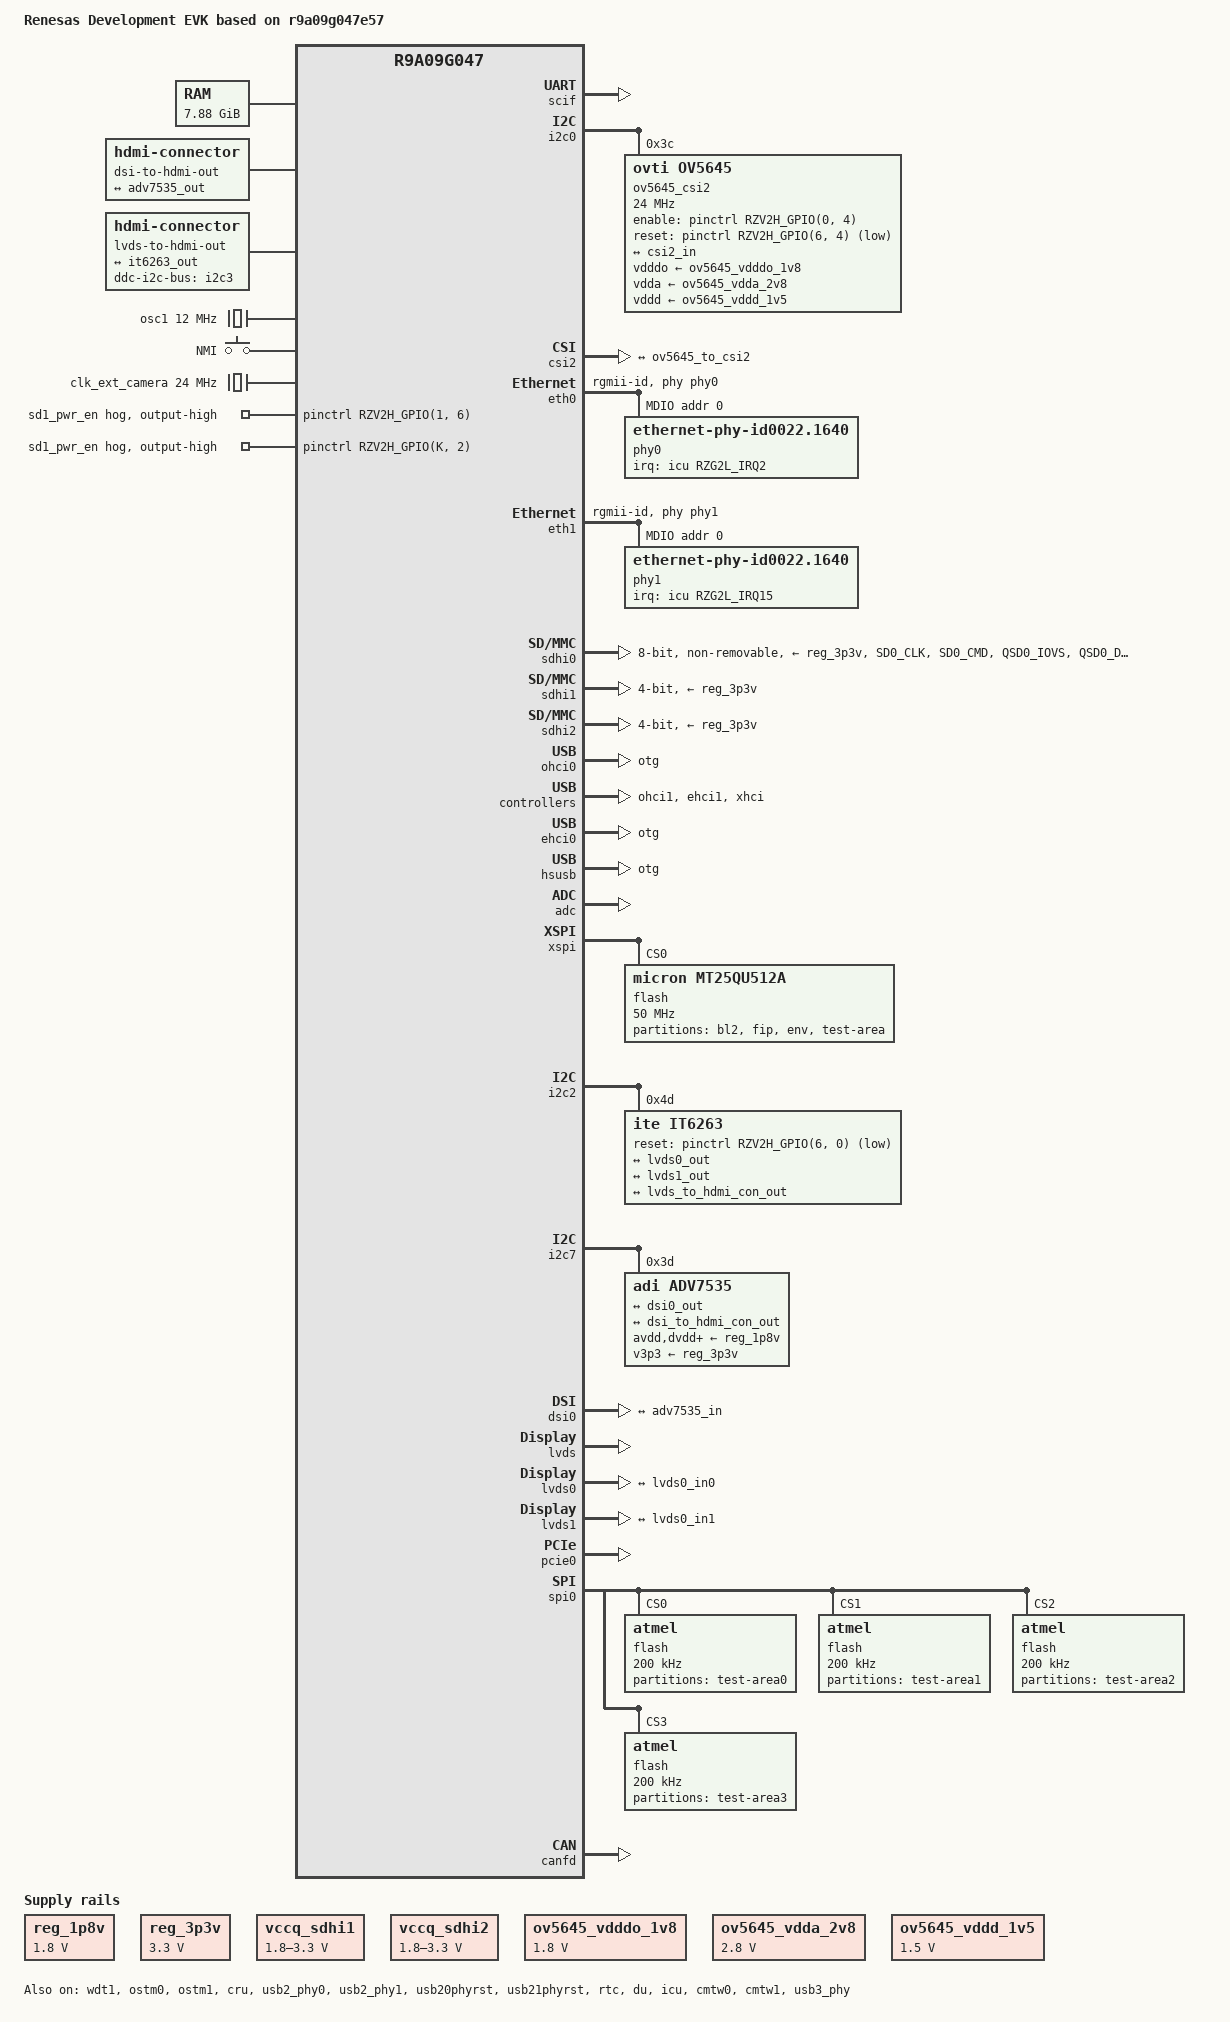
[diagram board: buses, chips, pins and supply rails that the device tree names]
// SPDX-License-Identifier: (GPL-2.0-only OR BSD-2-Clause)
/*
 * Device Tree Source for the RZ/G3E Development EVK board
 *
 * Copyright (C) 2023 Renesas Electronics Corp.
 */

/dts-v1/;
#include "r9a09g047.dtsi"
#include <dt-bindings/pinctrl/rzv2h-pinctrl.h>
#include <dt-bindings/gpio/gpio.h>
#include <dt-bindings/interrupt-controller/irqc-rzg2l.h>

/ {
	model = "Renesas Development EVK based on r9a09g047e57";
	compatible = "renesas,r9a09g047e57-dev", "renesas,r9a09g047e57", "renesas,r9a09g047";

	aliases {
		serial0 = &scif;
		ethernet0 = &eth0;
		ethernet1 = &eth1;
		mmc0 = &sdhi0;
		mmc1 = &sdhi1;
		mmc2 = &sdhi2;
	};

	chosen {
		bootargs = "ignore_loglevel";
		stdout-path = "serial0:115200n8";
	};

	memory@48000000 {
		device_type = "memory";
		/* first 128MB is reserved for secure area. */
		reg = <0x0 0x48000000 0x1 0xF8000000>;
	};

	reserved-memory {
		#address-cells = <2>;
		#size-cells = <2>;
		ranges;

		global_cma: linux,cma@58000000 {
			compatible = "shared-dma-pool";
			linux,cma-default;
			reusable;
			reg = <0x0 0x58000000 0x0 0x10000000>;
		};

		mmp_reserved: linux,multimedia {
			compatible = "shared-dma-pool";
			reusable;
			reg = <0x00000000 0x68000000 0x0 0x10000000>;
		};
	};

	mmngr {
		compatible = "renesas,mmngr";
		memory-region = <&mmp_reserved>;
	};

	mmngrbuf {
		compatible = "renesas,mmngrbuf";
	};

	vspm_if {
		compatible = "renesas,vspm_if";
	};

	reg_1p8v: regulator0 {
		compatible = "regulator-fixed";

		regulator-name = "fixed-1.8V";
		regulator-min-microvolt = <1800000>;
		regulator-max-microvolt = <1800000>;
		regulator-boot-on;
		regulator-always-on;
	};

	reg_3p3v: regulator1 {
		compatible = "regulator-fixed";

		regulator-name = "fixed-3.3V";
		regulator-min-microvolt = <3300000>;
		regulator-max-microvolt = <3300000>;
		regulator-boot-on;
		regulator-always-on;
	};

	vccq_sdhi1: regulator-vccq-sdhi1 {
		compatible = "regulator-gpio";

		regulator-name = "SDHI1 VccQ";
		regulator-min-microvolt = <1800000>;
		regulator-max-microvolt = <3300000>;

		gpios = <&pinctrl RZV2H_GPIO(1, 5) GPIO_ACTIVE_HIGH>;

		gpios-states = <0>;
		states = <3300000 0>, <1800000 1>;
	};

	vccq_sdhi2: regulator-vccq-sdhi2 {
		compatible = "regulator-gpio";

		regulator-name = "SDHI2 VccQ";
		regulator-min-microvolt = <1800000>;
		regulator-max-microvolt = <3300000>;

		gpios = <&pinctrl RZV2H_GPIO(K, 1) GPIO_ACTIVE_HIGH>;

		gpios-states = <0>;
		states = <3300000 0>, <1800000 1>;
	};

	dsi-to-hdmi-out {
		compatible = "hdmi-connector";
		type = "d";

		port {
			dsi_to_hdmi_con_out: endpoint {
				remote-endpoint = <&adv7535_out>;
			};
		};
	};

	lvds-to-hdmi-out {
		compatible = "hdmi-connector";
		type = "d";
		ddc-i2c-bus = <&i2c3>;

		port {
			lvds_to_hdmi_con_out: endpoint {
				remote-endpoint = <&it6263_out>;
			};
		};
	};

	osc1: cec-clock {
		compatible = "fixed-clock";
		#clock-cells = <0>;
		clock-frequency = <12000000>;
	};

	gpio-keys {
		compatible = "gpio-keys";

		pinctrl-0 = <&icu_pins>;
		pinctrl-names = "default";

		nmi {
			interrupt-parent = <&icu>;
			interrupts = <0 IRQ_TYPE_EDGE_FALLING>;
			linux,code = <0>;
			label = "NMI";
			wakeup-source;
		};
	};

	clk_ext_camera: clk_ext_camera {
		compatible = "fixed-clock";
		#clock-cells = <0>;
		clock-frequency = <24000000>;
	};

	ov5645_vdddo_1v8: 1p8v {
		compatible = "regulator-fixed";
		regulator-name = "camera_vdddo";
		regulator-min-microvolt = <1800000>;
		regulator-max-microvolt = <1800000>;
		regulator-always-on;
	};

	ov5645_vdda_2v8: 2p8v {
		compatible = "regulator-fixed";
		regulator-name = "camera_vdda";
		regulator-min-microvolt = <2800000>;
		regulator-max-microvolt = <2800000>;
		regulator-always-on;
	};

	ov5645_vddd_1v5: 1p5v {
		compatible = "regulator-fixed";
		regulator-name = "camera_vddd";
		regulator-min-microvolt = <1500000>;
		regulator-max-microvolt = <1500000>;
		regulator-always-on;
	};
};

&pinctrl {
	sd1_pwr_en {
		gpio-hog;
		gpios = <RZV2H_GPIO(1, 6) GPIO_ACTIVE_HIGH>;
		output-high;
		line-name = "sd1_pwr_en";
	};

	sd2_pwr_en {
		gpio-hog;
		gpios = <RZV2H_GPIO(K, 2) GPIO_ACTIVE_HIGH>;
		output-high;
		line-name = "sd1_pwr_en";
	};

	can0_pins: can0 {
		pinmux = <RZV2H_PORT_PINMUX(0, 2, 3)>, /* RX */
			 <RZV2H_PORT_PINMUX(0, 3, 3)>; /* TX */
	};

	can1_pins: can1 {
		pinmux = <RZV2H_PORT_PINMUX(D, 6, 3)>, /* RX */
			 <RZV2H_PORT_PINMUX(D, 7, 3)>; /* TX */
	};

	eth0_pins: eth0 {
		pinmux = <RZV2H_PORT_PINMUX(A, 1, 1)>, /* MDC */
			 <RZV2H_PORT_PINMUX(A, 0, 1)>, /* MDIO */
			 <RZV2H_PORT_PINMUX(C, 2, 15)>, /* PHY_INTR */
			 <RZV2H_PORT_PINMUX(C, 1, 1)>, /* RXD */
			 <RZV2H_PORT_PINMUX(C, 0, 1)>, /* RXD */
			 <RZV2H_PORT_PINMUX(B, 7, 1)>, /* RXD */
			 <RZV2H_PORT_PINMUX(B, 6, 1)>, /* RXD */
			 <RZV2H_PORT_PINMUX(B, 0, 1)>, /* RXC_RX_CLK */
			 <RZV2H_PORT_PINMUX(A, 2, 1)>, /* RX_CTL_RX_DV */
			 <RZV2H_PORT_PINMUX(B, 5, 1)>, /* TXD */
			 <RZV2H_PORT_PINMUX(B, 4, 1)>, /* TXD */
			 <RZV2H_PORT_PINMUX(B, 3, 1)>, /* TXD */
			 <RZV2H_PORT_PINMUX(B, 2, 1)>, /* TXD */
			 <RZV2H_PORT_PINMUX(B, 1, 1)>, /* TXC_TX_CLK */
			 <RZV2H_PORT_PINMUX(A, 3, 1)>; /* TX_CTL_TX_EN */
	};

	eth1_pins: eth1 {
		pinmux = <RZV2H_PORT_PINMUX(D, 1, 1)>, /* MDC */
			 <RZV2H_PORT_PINMUX(D, 0, 1)>, /* MDIO */
			 <RZV2H_PORT_PINMUX(F, 2, 15)>, /* PHY_INTR */
			 <RZV2H_PORT_PINMUX(F, 1, 1)>, /* RXD */
			 <RZV2H_PORT_PINMUX(F, 0, 1)>, /* RXD */
			 <RZV2H_PORT_PINMUX(E, 7, 1)>, /* RXD */
			 <RZV2H_PORT_PINMUX(E, 6, 1)>, /* RXD */
			 <RZV2H_PORT_PINMUX(E, 0, 1)>, /* RXC_RX_CLK */
			 <RZV2H_PORT_PINMUX(D, 2, 1)>, /* RX_CTL_RX_DV */
			 <RZV2H_PORT_PINMUX(E, 5, 1)>, /* TXD */
			 <RZV2H_PORT_PINMUX(E, 4, 1)>, /* TXD */
			 <RZV2H_PORT_PINMUX(E, 3, 1)>, /* TXD */
			 <RZV2H_PORT_PINMUX(E, 2, 1)>, /* TXD */
			 <RZV2H_PORT_PINMUX(E, 1, 1)>, /* TXC_TX_CLK */
			 <RZV2H_PORT_PINMUX(D, 3, 1)>; /* TX_CTL_TX_EN */
	};

	i2c2_pins: i2c2 {
		pinmux = <RZV2H_PORT_PINMUX(5, 4, 13)>, /* SCL */
			 <RZV2H_PORT_PINMUX(5, 5, 13)>; /* SDA */
	};

	i2c7_pins: i2c7 {
		pinmux = <RZV2H_PORT_PINMUX(6, 5, 4)>, /* SCL */
			 <RZV2H_PORT_PINMUX(6, 6, 4)>; /* SDA */
	};

	icu_pins: icu {
		nmi {
			pinmux = <RZV2H_PORT_PINMUX(S, 0, 0)>; /* NMI */
		};
	};

	i2c0_pins: i2c0 {
		pinmux = <RZV2H_PORT_PINMUX(5, 0, 13)>, /* SCL */
			 <RZV2H_PORT_PINMUX(5, 1, 13)>; /* SDA */
	};

	sdhi0_pins: sd0emmc {
		sd0-emmc-ctrl {
			pins = "SD0_CLK", "SD0_CMD";
			renesas,output-impedance = <3>;
		};

		sd0-iovs {
			pins = "QSD0_IOVS";
			renesas,output-impedance = <3>;
		};

		sd0-emmc-data {
			pins = "QSD0_DAT0", "QSD0_DAT1", "QSD0_DAT2", "QSD0_DAT3",
			       "QSD0_DAT4", "QSD0_DAT5", "QSD0_DAT6", "QSD0_DAT7";
			renesas,output-impedance = <3>;
		};

		sd0-emmc-rst {
			pins = "SD0_RSTN";
			renesas,output-impedance = <3>;
		};
	};

	sdhi1_pins: sd1 {
		sd1_mux {
			pinmux = <RZV2H_PORT_PINMUX(1, 4, 8)>; /* QSD1_CD */
		};

		sd1_data {
			pinmux = <RZV2H_PORT_PINMUX(G, 2, 1)>, /* QSD1_DAT0 */
				 <RZV2H_PORT_PINMUX(G, 3, 1)>, /* QSD1_DAT1 */
				 <RZV2H_PORT_PINMUX(G, 4, 1)>, /* QSD1_DAT2 */
				 <RZV2H_PORT_PINMUX(G, 5, 1)>; /* QSD1_DAT3 */
		};

		sd1_ctrl {
			pinmux = <RZV2H_PORT_PINMUX(G, 0, 1)>, /* QSD2_CLK */
				 <RZV2H_PORT_PINMUX(G, 1, 1)>; /* QSD2_CMD */
		};
	};

	sdhi2_pins: sd2 {
		sd2_mux {
			pinmux = <RZV2H_PORT_PINMUX(K, 0, 1)>; /* QSD2_CD */
		};

		sd2_data {
			pinmux = <RZV2H_PORT_PINMUX(H, 2, 1)>, /* QSD2_DAT0 */
				 <RZV2H_PORT_PINMUX(H, 3, 1)>, /* QSD2_DAT1 */
				 <RZV2H_PORT_PINMUX(H, 4, 1)>, /* QSD2_DAT2 */
				 <RZV2H_PORT_PINMUX(H, 5, 1)>; /* QSD2_DAT3 */
		};

		sd2_ctrl {
			pinmux = <RZV2H_PORT_PINMUX(H, 0, 1)>, /* QSD2_CLK */
				 <RZV2H_PORT_PINMUX(H, 1, 1)>; /* QSD2_CMD */
		};
	};

	usb20_pins: usb20 {
		pinmux = <RZV2H_PORT_PINMUX(3, 1, 12)>, /* VBUS */
			 <RZV2H_PORT_PINMUX(3, 0, 12)>; /* OVC */
	};

	usb21_pins: usb21 {
		pinmux = <RZV2H_PORT_PINMUX(3, 5, 12)>, /* VBUS */
			 <RZV2H_PORT_PINMUX(3, 4, 12)>; /* OVC */
	};

	spi0_pins: spi0 {
		spi0_ssl {
			pinmux = <RZV2H_PORT_PINMUX(8, 2, 2)>, /* SSLA */
				 <RZV2H_PORT_PINMUX(8, 3, 2)>, /* SSLB */
				 <RZV2H_PORT_PINMUX(8, 4, 2)>, /* SSLC */
				 <RZV2H_PORT_PINMUX(8, 5, 2)>; /* SSLD */
			};

		spi0_data {
			pinmux = <RZV2H_PORT_PINMUX(7, 7, 2)>, /* MISO */
				 <RZV2H_PORT_PINMUX(8, 0, 2)>; /* MOSI */
			bias-pull-up;
		};

		spi0_clk {
			pinmux = <RZV2H_PORT_PINMUX(8, 1, 2)>; /* RSPCK */
			drive-strength = <6>;
		};
	};

	xspi_pins: xspi0 {
		pinmux = <RZV2H_PORT_PINMUX(M, 0, 0)>, /* XSPI0_IO0 */
			 <RZV2H_PORT_PINMUX(M, 1, 0)>, /* XSPI0_IO1 */
			 <RZV2H_PORT_PINMUX(M, 2, 0)>, /* XSPI0_IO2 */
			 <RZV2H_PORT_PINMUX(M, 3, 0)>, /* XSPI0_IO3 */
			 <RZV2H_PORT_PINMUX(L, 0, 0)>, /* XSPI0_CKP */
			 <RZV2H_PORT_PINMUX(L, 1, 0)>, /* XSPI0_CS0 */
			 <RZV2H_PORT_PINMUX(L, 4, 0)>; /* XSPI0_RESET0 */
	};

	usb3_pins: usb3 {
		pinmux = <RZV2H_PORT_PINMUX(4, 1, 12)>, /* VBUS */
			 <RZV2H_PORT_PINMUX(4, 0, 12)>; /* OVR */
	};
};

&qextal_clk {
	clock-frequency = <24000000>;
};

&wdt1 {
	status = "okay";
};

&scif {
	status = "okay";
};

&ostm0 {
	status = "okay";
};

&ostm1 {
	status = "okay";
};

&i2c0 {
	pinctrl-0 = <&i2c0_pins>;
	pinctrl-names = "default";

	status = "okay";

	ov5645_csi2: ov5645_csi2@3c {
		compatible = "ovti,ov5645";
		reg = <0x3c>;
		clock-names = "xclk";
		clocks = <&clk_ext_camera>;
		clock-frequency = <24000000>;
		vdddo-supply = <&ov5645_vdddo_1v8>;
		vdda-supply = <&ov5645_vdda_2v8>;
		vddd-supply = <&ov5645_vddd_1v5>;
		enable-gpios = <&pinctrl RZV2H_GPIO(0, 4) GPIO_ACTIVE_HIGH>;
		reset-gpios = <&pinctrl RZV2H_GPIO(6, 4) GPIO_ACTIVE_LOW>;

		port {
			ov5645_to_csi2: endpoint {
				clock-lanes = <0>;
				data-lanes = <1 2>;
				remote-endpoint = <&csi2_in>;
			};
		};
	};
};

&cru {
	status = "okay";
};

&csi2 {
	status = "okay";

	ports {
		port {
			csi2_in: endpoint {
				clock-lanes = <0>;
				data-lanes = <1 2>;
				remote-endpoint = <&ov5645_to_csi2>;
			};
		};
	};
};

&eth0 {
	phy-handle = <&phy0>;
	phy-mode = "rgmii-id";

	pinctrl-0 = <&eth0_pins>;
	pinctrl-names = "default";
	status = "okay";

	mdio {
		#address-cells = <1>;
		#size-cells = <0>;
		phy0: ethernet-phy@0 {
			compatible = "ethernet-phy-id0022.1640",
					"ethernet-phy-ieee802.3-c22";
			reg = <0>;
			rxc-skew-psec = <1400>;
			txc-skew-psec = <1400>;
			rxdv-skew-psec = <0>;
			txdv-skew-psec = <0>;
			rxd0-skew-psec = <0>;
			rxd1-skew-psec = <0>;
			rxd2-skew-psec = <0>;
			rxd3-skew-psec = <0>;
			txd0-skew-psec = <0>;
			txd1-skew-psec = <0>;
			txd2-skew-psec = <0>;
			txd3-skew-psec = <0>;

			interrupt-parent = <&icu>;
			interrupts = <RZG2L_IRQ2 IRQ_TYPE_LEVEL_LOW>;
		};
	};
};

&eth1 {
	phy-handle = <&phy1>;
	phy-mode = "rgmii-id";

	pinctrl-0 = <&eth1_pins>;
	pinctrl-names = "default";
	status = "okay";

	mdio {
		#address-cells = <1>;
		#size-cells = <0>;
		phy1: ethernet-phy@0 {
			compatible = "ethernet-phy-id0022.1640",
					"ethernet-phy-ieee802.3-c22";
			reg = <0>;
			rxc-skew-psec = <1400>;
			txc-skew-psec = <1400>;
			rxdv-skew-psec = <0>;
			txdv-skew-psec = <0>;
			rxd0-skew-psec = <0>;
			rxd1-skew-psec = <0>;
			rxd2-skew-psec = <0>;
			rxd3-skew-psec = <0>;
			txd0-skew-psec = <0>;
			txd1-skew-psec = <0>;
			txd2-skew-psec = <0>;
			txd3-skew-psec = <0>;

			interrupt-parent = <&icu>;
			interrupts = <RZG2L_IRQ15 IRQ_TYPE_LEVEL_LOW>;
		};
	};
};

&sdhi0 {
	pinctrl-0 = <&sdhi0_pins>;
	pinctrl-1 = <&sdhi0_pins>;
	pinctrl-names = "default", "state_uhs";

	vmmc-supply = <&reg_3p3v>;
	vqmmc-supply = <&vqmmc_sdhi0>;

	bus-width = <8>;
	mmc-hs200-1_8v;
	non-removable;
	fixed-emmc-driver-type = <1>;
	status = "okay";
};

&sdhi1 {
	pinctrl-0 = <&sdhi1_pins>;
	pinctrl-names = "default";
	vmmc-supply = <&reg_3p3v>;
	vqmmc-supply = <&vccq_sdhi1>;
	bus-width = <4>;
	sd-uhs-sdr50;
	sd-uhs-sdr104;
	status = "okay";
};

&sdhi2 {
	pinctrl-0 = <&sdhi2_pins>;
	pinctrl-names = "default";
	vmmc-supply = <&reg_3p3v>;
	vqmmc-supply = <&vccq_sdhi2>;
	bus-width = <4>;
	sd-uhs-sdr50;
	sd-uhs-sdr104;
	status = "okay";
};

&ohci0 {
	memory-region = <&global_cma>;
	dr_mode = "otg";
	status = "okay";
};

&ohci1 {
	memory-region = <&global_cma>;
	status = "okay";
};

&ehci0 {
	memory-region = <&global_cma>;
	dr_mode = "otg";
	status = "okay";
};

&ehci1 {
	memory-region = <&global_cma>;
	status = "okay";
};

&hsusb {
	dr_mode = "otg";
	status = "okay";
};

&usb2_phy0 {
	pinctrl-0 = <&usb20_pins>;
	pinctrl-names = "default";

	status = "okay";
};

&usb2_phy1 {
	pinctrl-0 = <&usb21_pins>;
	pinctrl-names = "default";

	status = "okay";
};

&usb20phyrst {
	status = "okay";
};

&usb21phyrst {
	status = "okay";
};

&rtc {
	status = "okay";
};

&adc {
	status = "okay";
};

&xspi {
	pinctrl-0 = <&xspi_pins>;
	pinctrl-names = "default";
	status = "okay";

	flash@0 {
		compatible = "micron,mt25qu512a", "jedec,spi-nor";
		reg = <0>;
		m25p,fast-read;
		spi-max-frequency = <50000000>;
		spi-tx-bus-width = <1>;
		spi-rx-bus-width = <1>;

		partitions {
			compatible = "fixed-partitions";
			#address-cells = <1>;
			#size-cells = <1>;

			partition@0 {
				label = "bl2";
				reg = <0x00000000 0x0001D200>;
				read-only;
			};

			partition@1D200 {
				label = "fip";
				reg = <0x0001D200 0x001C2E00>;
				read-only;
			};

			partition@1E0000 {
				label = "env";
				reg = <0x001E0000 0x00020000>;
				read-only;
			};

			partition@200000 {
				label = "test-area";
				reg = <0x00200000 0x00E00000>;
			};
		};
	};
};

&i2c2 {
	pinctrl-0 = <&i2c2_pins>;
	pinctrl-names = "default";

	status = "okay";

	it6263: it6263@4d {
		compatible = "ite,it6263";
		reg = <0x4d>;
		ite,dual-link;
		reset-gpios = <&pinctrl RZV2H_GPIO(6, 0) GPIO_ACTIVE_LOW>;

		ports {
			#address-cells = <1>;
			#size-cells = <0>;

			port@0 {
				reg = <0>;
				dual-lvds-odd-pixels;
				lvds0_in0: endpoint@0 {
					remote-endpoint = <&lvds0_out>;
				};
			};

			port@1 {
				reg = <1>;
				dual-lvds-even-pixels;
				lvds0_in1: endpoint@1 {
					remote-endpoint = <&lvds1_out>;
				};
			};

			port@2 {
				reg = <2>;
				it6263_out: endpoint@2 {
					remote-endpoint = <&lvds_to_hdmi_con_out>;
				};
			};
		};
	};
};

&i2c7 {
	pinctrl-0 = <&i2c7_pins>;
	pinctrl-names = "default";

	status = "okay";

	adv7535: hdmi@3d {
		compatible = "adi,adv7535";
		reg = <0x3d>;

		clocks = <&osc1>;
		clock-names = "cec";
		avdd-supply = <&reg_1p8v>;
		dvdd-supply = <&reg_1p8v>;
		pvdd-supply = <&reg_1p8v>;
		a2vdd-supply = <&reg_1p8v>;
		v3p3-supply = <&reg_3p3v>;
		v1p2-supply = <&reg_1p8v>;

		adi,dsi-lanes = <4>;

		ports {
			#address-cells = <1>;
			#size-cells = <0>;

			port@0 {
				reg = <0>;
				adv7535_in: endpoint@0 {
					remote-endpoint = <&dsi0_out>;
				};
			};

			port@1 {
				reg = <1>;
				adv7535_out: endpoint@1 {
					remote-endpoint = <&dsi_to_hdmi_con_out>;
				};
			};
		};
	};
};

&du {
	status = "okay";
};

&dsi0 {
	status = "okay";

	ports {
		port@1 {
			dsi0_out: endpoint {
				remote-endpoint = <&adv7535_in>;
				data-lanes = <1 2 3 4>;
			};
		};
	};
};

&lvds {
	status = "okay";
};

&lvds0 {
	status = "okay";

	ports {
		port@1 {
			lvds0_out: endpoint {
				remote-endpoint = <&lvds0_in0>;
			};
		};
	};
};

&lvds1 {
	clocks = <&cpg CPG_MOD 416>,
		 <&cpg CPG_MOD 418>;

	status = "okay";

	ports {
		port@1 {
			lvds1_out: endpoint {
				remote-endpoint = <&lvds0_in1>;
			};
		};
	};
};

&pcie0 {
	/* Map all possible DDR as inbound ranges */
	dma-ranges = <0x42000000 0 0x40000000 0 0x40000000 0x2 0x00000000>;

	status = "okay";
};

&icu {
	status = "okay";
};

&cmtw0 {
	status = "okay";
};

&cmtw1 {
	status = "okay";
};

&spi0 {
	pinctrl-0 = <&spi0_pins>;
	pinctrl-names = "default";

	status = "okay";
	num-cs = <4>;

	flash@0 {
		compatible = "atmel","jedec,spi-nor";
		reg = <0>;
		spi-max-frequency = <200000>;
		spi-tx-bus-width = <1>;
		spi-rx-bus-width = <1>;
		m25p,fast-read;

		partitions {
			compatible = "fixed-partitions";
			#address-cells = <1>;
			#size-cells = <1>;

			partition@0 {
				label = "test-area0";
				reg = <0x00000000 0x00080000>;
			};
		};
	};

	flash@1 {
		compatible = "atmel","jedec,spi-nor";
		reg = <1>;
		spi-max-frequency = <200000>;
		spi-tx-bus-width = <1>;
		spi-rx-bus-width = <1>;
		m25p,fast-read;

		partitions {
			compatible = "fixed-partitions";
			#address-cells = <1>;
			#size-cells = <1>;

			partition@0 {
				label = "test-area1";
				reg = <0x00000000 0x00080000>;
			};
		};
	};

	flash@2 {
		compatible = "atmel","jedec,spi-nor";
		reg = <2>;
		spi-max-frequency = <200000>;
		spi-tx-bus-width = <1>;
		spi-rx-bus-width = <1>;
		m25p,fast-read;

		partitions {
			compatible = "fixed-partitions";
			#address-cells = <1>;
			#size-cells = <1>;

			partition@0 {
				label = "test-area2";
				reg = <0x00000000 0x00080000>;
			};
		};
	};

	flash@3 {
		compatible = "atmel","jedec,spi-nor";
		reg = <3>;
		spi-max-frequency = <200000>;
		spi-tx-bus-width = <1>;
		spi-rx-bus-width = <1>;
		m25p,fast-read;

		partitions {
			compatible = "fixed-partitions";
			#address-cells = <1>;
			#size-cells = <1>;

			partition@0 {
				label = "test-area3";
				reg = <0x00000000 0x00080000>;
			};
		};
	};
};

&canfd {
	pinctrl-0 = <&can0_pins &can1_pins>;
	pinctrl-names = "default";
	status = "okay";

	channel0 {
		status = "okay";
	};

	channel1 {
		status = "okay";
	};
};

&usb3_phy {
	status = "okay";
};

&xhci {
	pinctrl-0 = <&usb3_pins>;
	pinctrl-names = "default";

	memory-region = <&global_cma>;
	status = "okay";
};
